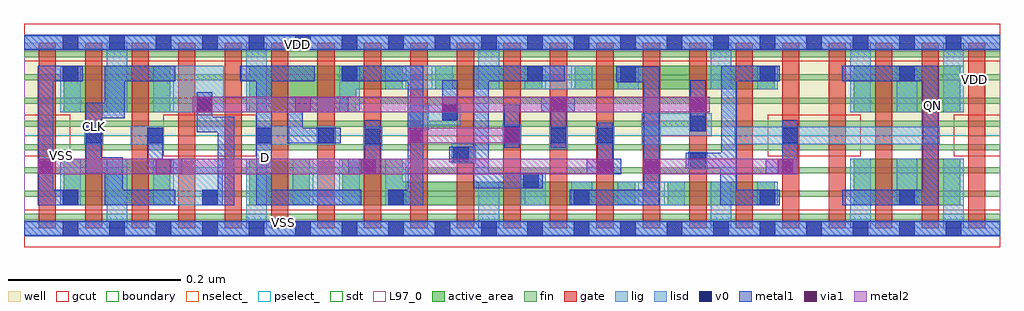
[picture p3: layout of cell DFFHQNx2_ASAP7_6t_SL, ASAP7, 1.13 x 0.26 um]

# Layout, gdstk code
import gdstk
lib = gdstk.Library(unit=1e-6, precision=2.5e-10)
def R(c, l, rs):  # rectangles x0, y0, x1, y1
    for r in rs: c.add(gdstk.rectangle(r[:2], r[2:], *l))
def A(c, l, x, y, w, h, nx, ny, dx, dy):  # array of equal rectangles
    R(c, l, [(x+i*dx, y+j*dy, x+i*dx+w, y+j*dy+h) for i in range(nx) for j in range(ny)])
def P(c, l, *ps):  # polygons
    for p in ps: c.add(gdstk.Polygon(p, *l))
well = (1, 0)
fin = (2, 0)
gate = (7, 0)
gcut = (10, 0)
active_area = (11, 0)
nselect_ = (12, 0)
pselect_ = (13, 0)
lig = (16, 0)
lisd = (17, 0)
v0 = (18, 0)
metal1 = (19, 0)
metal2 = (20, 0)
via1 = (21, 0)
sdt = (88, 0)
L97_0 = (97, 0)
boundary = (100, 0)

dffhqnx2_asap7_6t_sl = lib.new_cell('DFFHQNx2_ASAP7_6t_SL')
R(dffhqnx2_asap7_6t_sl, well, [(0,0.108,1.08,0.216), (1.08,0.108,1.134,0.216)])
A(dffhqnx2_asap7_6t_sl, fin, 0, 0.01, 1.08, 0.007, 1, 8, 0, 0.027)
A(dffhqnx2_asap7_6t_sl, fin, 1.08, 0.01, 0.054, 0.007, 1, 8, 0, 0.027)
A(dffhqnx2_asap7_6t_sl, gate, 0.017, 0, 0.02, 0.216, 21, 1, 0.054, 0)
R(dffhqnx2_asap7_6t_sl, gcut, [(0,-0.022,1.134,0.022), (0,0.084,0.054,0.132), (0.162,0.084,0.27,0.132), (0.864,0.084,0.972,0.132), (1.08,0.084,1.134,0.132), (0,0.194,1.134,0.238)])
R(dffhqnx2_asap7_6t_sl, active_area, [(0.046,0.027,0.17,0.081), (0.262,0.027,0.332,0.081), (0.748,0.027,0.872,0.054), (0.964,0.027,1.034,0.081), (1.034,0.027,1.088,0.081), (0.046,0.135,0.17,0.189), (0.964,0.135,1.034,0.189), (1.034,0.135,1.088,0.189), (0.478,0.162,0.602,0.189), (0.64,0.162,0.872,0.189)])
P(dffhqnx2_asap7_6t_sl, active_area, [(0.71,0.054),(0.44,0.054),(0.44,0.081),(0.37,0.081),(0.37,0.027),(0.71,0.027)],
  [(0.44,0.189),(0.262,0.189),(0.262,0.135),(0.386,0.135),(0.386,0.162),(0.44,0.162)])
R(dffhqnx2_asap7_6t_sl, nselect_, [(0,0,1.08,0.108), (1.08,0,1.134,0.108)])
R(dffhqnx2_asap7_6t_sl, pselect_, [(0,0.108,1.08,0.216), (1.08,0.108,1.134,0.216)])
R(dffhqnx2_asap7_6t_sl, lig, [(0,-0.008,1.08,0.008), (1.08,-0.008,1.134,0.008), (0.772,0.069,0.794,0.089), (0.497,0.076,0.525,0.099), (0.61,0.092,0.632,0.118), (0.394,0.096,0.416,0.118), (0.07,0.097,0.092,0.119), (0.124,0.097,0.162,0.119), (0.27,0.097,0.308,0.119), (0.34,0.097,0.362,0.119), (0.664,0.097,0.686,0.119), (0.718,0.097,0.74,0.119), (0.556,0.098,0.578,0.121), (0.826,0.098,1.064,0.118), (0.448,0.114,0.47,0.144), (0,0.208,1.08,0.224), (1.08,0.208,1.134,0.224)])
R(dffhqnx2_asap7_6t_sl, lisd, [(0.096,0,0.12,0.081), (0.258,0,0.282,0.081), (0.528,0,0.552,0.054), (0.798,0,0.822,0.054), (0.96,0,0.984,0.081), (1.068,0,1.092,0.081), (0.042,0.027,0.066,0.081), (0.15,0.027,0.231,0.081), (0.312,0.027,0.39,0.081), (0.42,0.027,0.444,0.081), (0.577,0.027,0.606,0.065), (0.636,0.027,0.66,0.054), (0.69,0.027,0.768,0.054), (0.852,0.027,0.876,0.054), (1.014,0.027,1.038,0.081), (0.718,0.108,0.799,0.134), (0.448,0.12,0.507,0.144), (0.042,0.135,0.066,0.189), (0.096,0.135,0.12,0.216), (0.15,0.135,0.232,0.189), (0.258,0.135,0.282,0.216), (0.366,0.135,0.39,0.189), (0.96,0.135,0.984,0.216), (1.014,0.135,1.038,0.189), (1.068,0.135,1.092,0.216), (0.42,0.162,0.498,0.189), (0.528,0.162,0.552,0.216), (0.582,0.162,0.66,0.189), (0.69,0.162,0.714,0.189), (0.798,0.162,0.822,0.216), (0.852,0.162,0.876,0.189)])
A(dffhqnx2_asap7_6t_sl, v0, 0.045, -0.009, 0.018, 0.018, 20, 2, 0.054, 0.216)
A(dffhqnx2_asap7_6t_sl, v0, 0.207, 0.027, 0.018, 0.018, 4, 1, 0.216, 0)
R(dffhqnx2_asap7_6t_sl, v0, [(0.045,0.027,0.063,0.045), (1.017,0.027,1.035,0.045), (0.58,0.047,0.598,0.065), (0.774,0.07,0.792,0.088), (0.499,0.077,0.517,0.095), (0.396,0.098,0.414,0.116), (0.072,0.099,0.09,0.117), (0.143,0.099,0.161,0.117), (0.27,0.099,0.288,0.117), (0.342,0.099,0.36,0.117), (0.612,0.099,0.63,0.117), (0.666,0.099,0.684,0.117), (0.881,0.099,0.899,0.117), (0.558,0.101,0.576,0.119), (0.774,0.113,0.792,0.131), (0.486,0.126,0.504,0.144), (0.201,0.135,0.219,0.153), (0.693,0.17,0.711,0.188), (0.045,0.171,0.063,0.189), (0.369,0.171,0.387,0.189), (0.585,0.171,0.603,0.189), (0.855,0.171,0.873,0.189), (1.017,0.171,1.035,0.189)])
R(dffhqnx2_asap7_6t_sl, metal1, [(0,-0.009,1.134,0.009), (0.558,0.094,0.576,0.144), (0.774,0.113,0.792,0.172), (0.486,0.126,0.504,0.172), (0,0.207,1.134,0.225)])
P(dffhqnx2_asap7_6t_sl, metal1, [(0.183,0.081),(0.161,0.081),(0.161,0.117),(0.143,0.117),(0.143,0.063),(0.183,0.063)],
  [(0.068,0.189),(0.016,0.189),(0.016,0.027),(0.063,0.027),(0.063,0.045),(0.034,0.045),(0.034,0.171),(0.068,0.171)],
  [(0.244,0.13),(0.219,0.13),(0.219,0.158),(0.201,0.158),(0.201,0.112),(0.225,0.112),(0.225,0.045),(0.207,0.045),(0.207,0.027),(0.244,0.027)],
  [(0.176,0.045),(0.115,0.045),(0.115,0.083),(0.09,0.083),(0.09,0.128),(0.117,0.128),(0.117,0.171),(0.176,0.171),(0.176,0.189),(0.094,0.189),(0.094,0.146),(0.072,0.146),(0.072,0.065),(0.094,0.065),(0.094,0.027),(0.176,0.027)],
  [(0.377,0.153),(0.306,0.153),(0.306,0.099),(0.368,0.099),(0.368,0.117),(0.324,0.117),(0.324,0.135),(0.377,0.135)],
  [(0.392,0.045),(0.288,0.045),(0.288,0.171),(0.338,0.171),(0.338,0.189),(0.251,0.189),(0.251,0.171),(0.27,0.171),(0.27,0.027),(0.392,0.027)],
  [(0.414,0.126),(0.396,0.126),(0.396,0.081),(0.377,0.081),(0.377,0.063),(0.414,0.063)],
  [(0.464,0.189),(0.369,0.189),(0.369,0.171),(0.446,0.171),(0.446,0.045),(0.423,0.045),(0.423,0.027),(0.464,0.027)],
  [(0.628,0.189),(0.522,0.189),(0.522,0.095),(0.494,0.095),(0.494,0.077),(0.522,0.077),(0.522,0.047),(0.603,0.047),(0.603,0.065),(0.54,0.065),(0.54,0.171),(0.628,0.171)],
  [(0.64,0.153),(0.601,0.153),(0.601,0.135),(0.612,0.135),(0.612,0.094),(0.63,0.094),(0.63,0.135),(0.64,0.135)],
  [(0.694,0.081),(0.684,0.081),(0.684,0.123),(0.666,0.123),(0.666,0.081),(0.654,0.081),(0.654,0.063),(0.694,0.063)],
  [(0.738,0.188),(0.688,0.188),(0.688,0.17),(0.72,0.17),(0.72,0.045),(0.634,0.045),(0.634,0.027),(0.738,0.027)],
  [(0.878,0.045),(0.828,0.045),(0.828,0.171),(0.878,0.171),(0.878,0.189),(0.81,0.189),(0.81,0.088),(0.769,0.088),(0.769,0.07),(0.809,0.07),(0.809,0.027),(0.878,0.027)],
  [(0.899,0.126),(0.881,0.126),(0.881,0.081),(0.862,0.081),(0.862,0.063),(0.899,0.063)],
  [(1.062,0.189),(0.951,0.189),(0.951,0.171),(1.044,0.171),(1.044,0.045),(0.951,0.045),(0.951,0.027),(1.062,0.027)])
R(dffhqnx2_asap7_6t_sl, metal2, [(0.016,0.063,0.684,0.081), (0.72,0.063,0.899,0.081), (0.446,0.099,0.576,0.117), (0.196,0.135,0.797,0.153)])
R(dffhqnx2_asap7_6t_sl, via1, [(0.016,0.063,0.034,0.081), (0.153,0.063,0.171,0.081), (0.391,0.063,0.409,0.081), (0.666,0.063,0.684,0.081), (0.72,0.063,0.738,0.081), (0.876,0.063,0.894,0.081), (0.446,0.099,0.464,0.117), (0.558,0.099,0.576,0.117), (0.201,0.135,0.219,0.153), (0.315,0.135,0.333,0.153), (0.486,0.135,0.504,0.153), (0.612,0.135,0.63,0.153), (0.774,0.135,0.792,0.153)])
A(dffhqnx2_asap7_6t_sl, sdt, 0.042, 0.027, 0.024, 0.054, 3, 2, 0.054, 0.108)
A(dffhqnx2_asap7_6t_sl, sdt, 0.258, 0.027, 0.024, 0.054, 4, 1, 0.054, 0)
A(dffhqnx2_asap7_6t_sl, sdt, 0.528, 0.027, 0.024, 0.027, 7, 1, 0.054, 0)
A(dffhqnx2_asap7_6t_sl, sdt, 0.96, 0.027, 0.024, 0.054, 3, 2, 0.054, 0.108)
A(dffhqnx2_asap7_6t_sl, sdt, 0.42, 0.162, 0.024, 0.027, 6, 1, 0.054, 0)
R(dffhqnx2_asap7_6t_sl, sdt, [(0.258,0.135,0.282,0.189), (0.366,0.135,0.39,0.189), (0.798,0.162,0.822,0.189), (0.852,0.162,0.876,0.189)])
R(dffhqnx2_asap7_6t_sl, L97_0, [(0,0,1.134,0.216)])
R(dffhqnx2_asap7_6t_sl, boundary, [(0,0,1.134,0.216)])
dffhqnx2_asap7_6t_sl.add(gdstk.Label('VSS', (0.043,0.085), layer=3, texttype=251))
dffhqnx2_asap7_6t_sl.add(gdstk.Label('VSS', (0.302,0.007), layer=19, texttype=251))
dffhqnx2_asap7_6t_sl.add(gdstk.Label('D', (0.281,0.082), layer=19, texttype=251))
dffhqnx2_asap7_6t_sl.add(gdstk.Label('CLK', (0.082,0.119), layer=19, texttype=251))
dffhqnx2_asap7_6t_sl.add(gdstk.Label('QN', (1.056,0.143), layer=19, texttype=251))
dffhqnx2_asap7_6t_sl.add(gdstk.Label('VDD', (0.318,0.214), layer=19, texttype=251))
dffhqnx2_asap7_6t_sl.add(gdstk.Label('VDD', (1.104,0.173), layer=1, texttype=251))

lib.write_gds('DFFHQNx2_ASAP7_6t_SL.gds')
